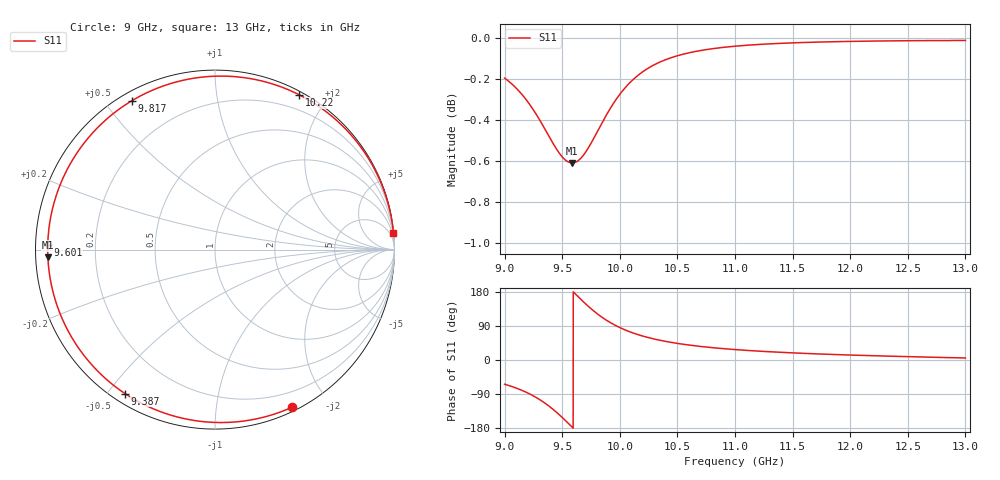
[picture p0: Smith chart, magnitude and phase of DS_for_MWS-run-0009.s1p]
! TOUCHSTONE file generated by CST DESIGN STUDIO
! Date and time: Tue Feb  4 12:56:13 2025
! Project name: C:\Work\MatlabApps\UnitCellOptimizationMatlab\CST\unitcell.cst
! Tree item: Tasks\Sweep1\SPara1\S-Parameters
! Header version: 2024
! Port assignment regex: !\s*Touchstone port\s*([0-9]+)\s*=\s*(CST MWS port|CST DES external port|CST DES block port)\s*(.+)\s* \(\"(.*)\"\)(\s*mode\s*([0-9]+))?.*
! Touchstone port assignment:
! Touchstone port 1 = CST DES external port 1 ("")
# GHz S MA R 50
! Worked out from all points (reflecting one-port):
!   4001 points, 9 GHz to 13 GHz, reference 50 ohm
!   lowest |S11| = -0.6 dB at 9.587 GHz (marker M1), VSWR 28.51, Z = 1.75 - j1.13 ohm
!   phase of S11 starts at -64 deg and turns -291 deg over the sweep
!   S11 on the Smith chart (normalised r, x): 9 GHz: 0.04, -1.60; 9.387 GHz: 0.04, -0.55; 9.601 GHz: 0.04, +0.01; 9.817 GHz: 0.03, +0.59; 10.22 GHz: 0.03, +1.68; 13 GHz: 0, +21
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9  0.9776 -63.9
9.048  0.9752 -68.5
9.117  0.971 -76.0
9.236  0.9616 -92.5
9.316  0.9537 -106.7
9.387  0.946 -122.0
9.443  0.9402 -135.9
9.5  0.9354 -151.6
9.545  0.933 -164.7
9.587  0.9322 -177.4
9.601  0.9323 178.3
9.656  0.9343 161.8
9.717  0.9391 144.3
9.767  0.9444 131.0
9.817  0.9501 119.0
9.858  0.9548 110.2
9.901  0.9594 101.8
10  0.9687 85.6
10.105  0.9761 72.4
10.219  0.9819 61.5
10.349  0.9864 52.0
10.5  0.9899 43.8
10.72  0.9929 35.1
11  0.9952 27.5
11.5  0.997 18.8
12  0.9978 13.1
12.5  0.9982 8.8
13  0.9984 5.3
